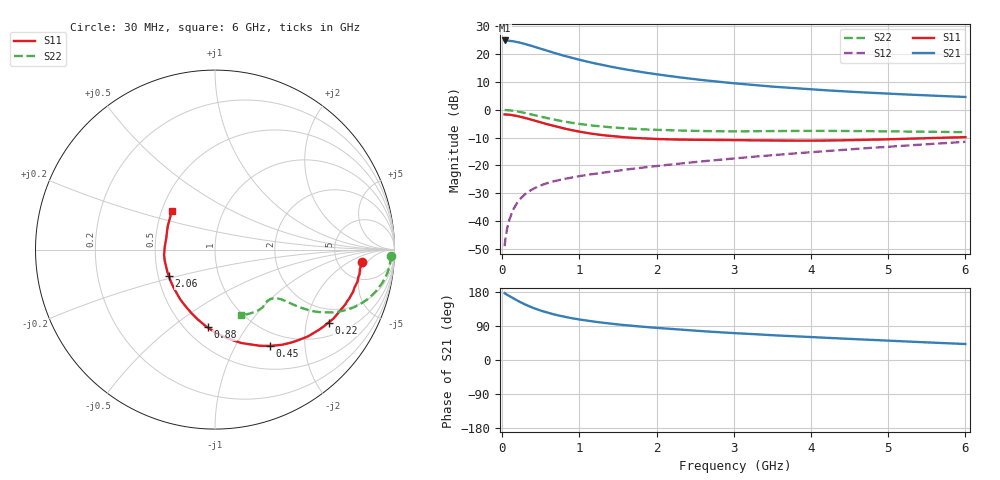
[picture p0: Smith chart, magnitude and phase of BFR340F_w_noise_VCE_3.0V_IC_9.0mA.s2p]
! Infineon Technologies  Discrete & RF Semiconductors
! BFR340F
! VCE =  3.0 V,  IC =  9.0 mA
! Common Emitter S-Parameters:  Nov 2015
# GHz  S  MA  R  50
!  f  S11  S21  S12  S22
! GHz  MAG  ANG  MAG  ANG  MAG  ANG  MAG  ANG
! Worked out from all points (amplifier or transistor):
!   206 points, 30 MHz to 6 GHz, reference 50 ohm
!   highest |S21| = 24.7 dB at 30 MHz (marker M1)
!   |S21| within 3 dB of that: start of sweep to 502.7 MHz
!   unconditionally stable (mu >= 1): 2.195 GHz to 5.19 GHz
!   at 200 MHz: K = 0.18, MSG = 28.6 dB, |S12| = -33.1 dB
!   at 1.56 GHz: K = 0.90, MSG = 18.1 dB, |S12| = -21.6 dB
!   at 6 GHz: K = 0.97, MSG = 8.0 dB, |S12| = -11.5 dB
!   lowest NFmin = 1.58 dB at 1.9 GHz
!   S11 on the Smith chart (normalised r, x): 30 MHz: 8.63, -3.53; 220 MHz: 1.45, -2.71; 450 MHz: 0.80, -1.40; 880 MHz: 0.64, -0.68; 2.06 GHz: 0.57, -0.18; 6 GHz: 0.57, +0.27
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0.03  0.8197 -4.7  17.28 176.4  0.0036 88.2  0.9812 -2.1
0.05  0.8147 -7.8  17.13 173.3  0.0057 85.3  0.9794 -3.7
0.07  0.813 -11.0  17.18 171.0  0.0083 84.2  0.977 -5.3
0.14  0.7904 -21.4  16.71 163.1  0.0161 79.5  0.9541 -10.6
0.22  0.7519 -32.7  15.87 154.2  0.024 74.1  0.9135 -15.9
0.26  0.73 -38.0  15.39 150.1  0.0276 71.8  0.8907 -18.3
0.32  0.6948 -45.6  14.61 144.3  0.0325 68.8  0.8535 -21.3
0.4  0.6488 -54.8  13.54 137.5  0.0382 65.6  0.8039 -24.7
0.45  0.6186 -60.2  12.89 133.7  0.0413 64.0  0.7744 -26.5
0.62  0.5306 -75.9  10.9 122.9  0.0501 60.3  0.6851 -30.6
0.7  0.4963 -82.6  10.09 118.7  0.0535 59.3  0.6496 -32.0
0.88  0.4348 -95.5  8.598 111.1  0.0603 58.3  0.5871 -33.8
1.04  0.3941 -105.6  7.557 105.6  0.0659 58.2  0.5454 -34.8
1.22  0.3605 -115.8  6.624 100.4  0.0719 58.6  0.5096 -35.6
1.5  0.3269 -129.4  5.539 93.8  0.081 59.6  0.4717 -36.6
2.02  0.2973 -148.8  4.245 84.4  0.0985 61.8  0.4335 -38.6
2.06  0.2961 -150.2  4.172 83.8  0.0999 62.0  0.4318 -38.8
2.6  0.2875 -165.5  3.37 76.0  0.119 63.8  0.4133 -42.0
3.1  0.2837 -175.7  2.883 70.0  0.1376 64.9  0.4093 -45.3
4.1  0.2787 167.0  2.257 59.5  0.1773 65.7  0.4168 -51.4
5.1  0.2964 151.5  1.902 50.1  0.2211 65.3  0.4079 -59.7
6  0.322 138.2  1.684 42.2  0.2651 63.9  0.3944 -68.3
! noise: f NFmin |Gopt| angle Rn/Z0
1.9  1.58  0.32  4  0.52
